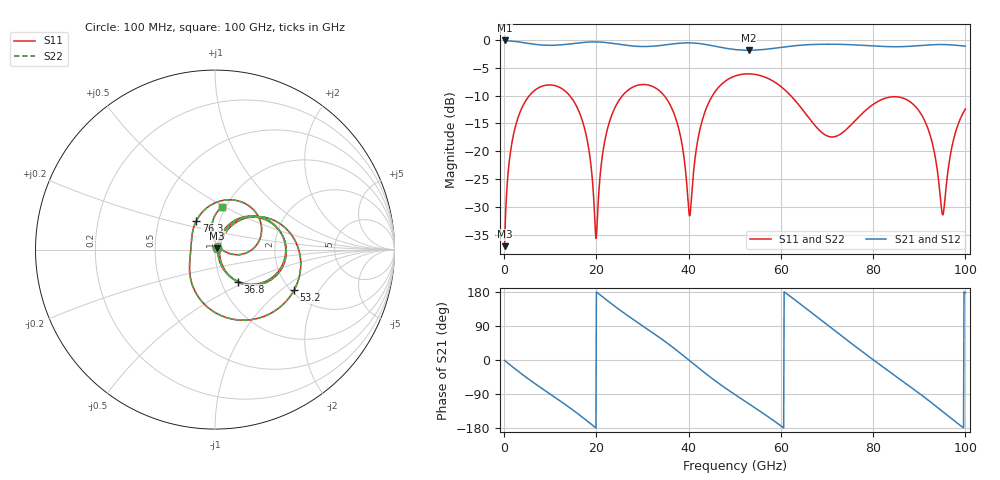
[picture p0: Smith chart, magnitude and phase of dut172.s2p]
! Touchstone file exported from HFSS 2026.1.0
!  File:  C:/ffzhzh/LocalFiles/Ansys_Project_Files/temp_train_TSV_RDL_172_1783650952_29156.aedt
!  Generated:  10:48:01 AM Jul 10, 2026
!  Design:  TSV_RDL
!  Project:  temp_train_TSV_RDL_172_1783650952_29156
! Variables:
!  h_bsmrdl = 3.5um
!  h_ox = 20um
!  h_rdl = 5um
!  h_sub = 75.1um
!  h_tmrdl = 3.75um
!  h_tsv = 75.1um
!  h_via = 3um
!  l_bsmrdl = 574.05um
!  l_sub = 3034.37um
!  l_tmrdl = 186.82um
!  m_sub = 200um
!  pitch = 45.1um
!  r_tsv = 7.62um
!  s_tmrdl = 10um
!  w_bsmrdl = 26.05um
!  w_sub = 500um
!  w_tmrdl = 28.93um
!  x_tsv_center1 = 201.285um
!  x_tsv_center2 = 801.385um
!  x_tsv_center3 = 1017.135um
!  x_tsv_center4 = 1617.235um
!  x_tsv_center5 = 1832.985um
!  x_tsv_center6 = 2433.085um
# GHz S MA R 50.000000
! Terminal data exported
! Port[1] = TM_RDL1_1_T1
! Port[2] = TM_RDL5_1_T1
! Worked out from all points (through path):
!   1000 points, 100 MHz to 100 GHz, reference 50 ohm
!   highest |S21| = -0.10 dB at 100 MHz (marker M1); lowest = -1.9 dB at 53 GHz (marker M2)
!   group delay of S21, straight-line fit = 24.9 ps
!   lowest |S11| = -37.1 dB at 100 MHz (marker M3), VSWR 1.03, Z = 51.2 + j0.824 ohm
!   |S11| at or under -10 dB: 14.2 GHz to 25.67 GHz (11.48 GHz wide, 57.6 % of centre); 34.67 GHz to 45.18 GHz (10.51 GHz wide, 26.3 % of centre); 62.11 GHz to end of sweep (the widest 3 of 4)
!   |S22| runs from -37.1 to -6.1 dB; largest |S21 - S12| = 3.2e-13
!   S11 on the Smith chart (normalised r, x): 100 MHz: 1.02, +0.02; 36.8 GHz: 1.20, -0.45; 53.2 GHz: 2.07, -1.24; 76.3 GHz: 0.77, +0.26; 100 GHz: 0.96, +0.48
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0.1  0.01399 35.1  0.9887 -1.1  0.9887 -1.1  0.01399 35.1
! Gamma 0 0 0 0
! Port Impedance 50 0 50 0
1.7  0.1199 65.3  0.9766 -16.9  0.9766 -16.9  0.1199 65.3
5  0.2976 38.4  0.9336 -47.8  0.9336 -47.8  0.2976 38.4
11.1  0.3875 -11.2  0.8962 -99.3  0.8962 -99.3  0.3876 -11.2
16.8  0.1964 -57.6  0.9464 -149.5  0.9464 -149.5  0.1965 -57.6
19.9  0.01646 -7.9  0.9594 -179.3  0.9594 -179.3  0.0164 -8.2
24  0.2452 46.8  0.9243 141.7  0.9243 141.7  0.2451 46.8
33.4  0.356 -27.9  0.8864 61.8  0.8864 61.8  0.3561 -28.0
36.8  0.2194 -54.7  0.9225 31.2  0.9225 31.2  0.2195 -55.0
40.2  0.02615 -5.1  0.9406 -1.8  0.9406 -1.8  0.02484 -5.7
43.5  0.2232 48.5  0.9125 -34.0  0.9125 -34.0  0.2229 48.8
50.1  0.4743 -3.6  0.819 -91.8  0.819 -91.8  0.4741 -3.6
53  0.4954 -25.7  0.8071 -115.1  0.8071 -115.1  0.4952 -25.7
53.2  0.4951 -27.3  0.8071 -116.7  0.8071 -116.7  0.495 -27.3
60.7  0.3602 -87.3  0.864 180.0  0.864 180.0  0.36 -87.4
66.7  0.1843 -140.0  0.9085 124.4  0.9085 124.4  0.1841 -140.5
71.3  0.1342 174.1  0.9139 81.1  0.9139 81.1  0.1341 173.3
76.3  0.1919 122.6  0.9008 34.4  0.9008 34.4  0.192 122.1
83.4  0.305 59.2  0.8695 -29.5  0.8695 -29.5  0.3052 59.0
91.1  0.1905 -3.2  0.8951 -98.2  0.8951 -98.2  0.1906 -3.5
95.1  0.02675 43.3  0.9088 -136.3  0.9088 -136.3  0.02601 42.9
100  0.2395 81.1  0.8784 177.1  0.8784 177.1  0.2393 81.2
